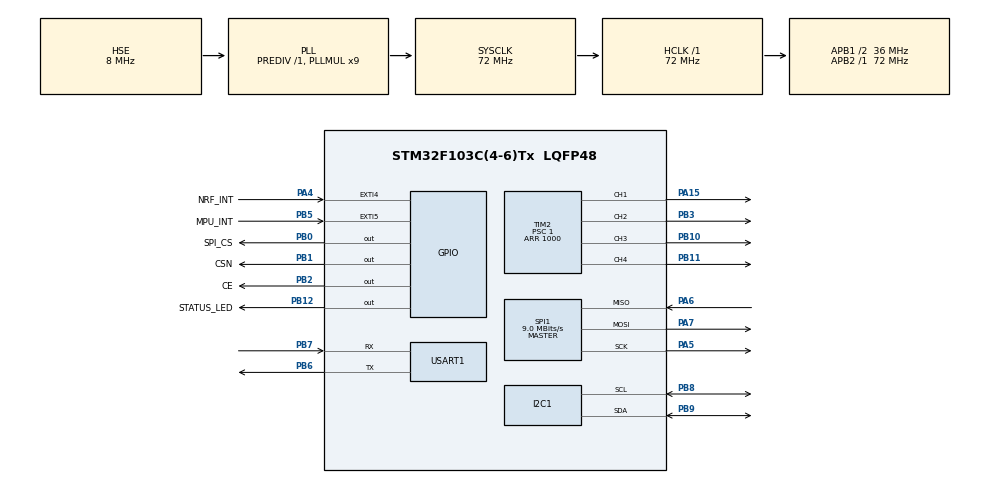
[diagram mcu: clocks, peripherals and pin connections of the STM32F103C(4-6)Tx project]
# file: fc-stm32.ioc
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Dma.I2C1_RX.1.Direction=DMA_PERIPH_TO_MEMORY
Dma.I2C1_RX.1.Instance=DMA1_Channel7
Dma.I2C1_RX.1.MemDataAlignment=DMA_MDATAALIGN_BYTE
Dma.I2C1_RX.1.MemInc=DMA_MINC_ENABLE
Dma.I2C1_RX.1.Mode=DMA_NORMAL
Dma.I2C1_RX.1.PeriphDataAlignment=DMA_PDATAALIGN_BYTE
Dma.I2C1_RX.1.PeriphInc=DMA_PINC_DISABLE
Dma.I2C1_RX.1.Priority=DMA_PRIORITY_HIGH
Dma.I2C1_TX.2.Direction=DMA_MEMORY_TO_PERIPH
Dma.I2C1_TX.2.Instance=DMA1_Channel6
Dma.I2C1_TX.2.MemDataAlignment=DMA_MDATAALIGN_BYTE
Dma.I2C1_TX.2.MemInc=DMA_MINC_ENABLE
Dma.I2C1_TX.2.Mode=DMA_NORMAL
Dma.I2C1_TX.2.PeriphDataAlignment=DMA_PDATAALIGN_BYTE
Dma.I2C1_TX.2.PeriphInc=DMA_PINC_DISABLE
Dma.I2C1_TX.2.Priority=DMA_PRIORITY_HIGH
Dma.Request0=SPI1_RX
Dma.Request1=I2C1_RX
Dma.Request2=I2C1_TX
Dma.Request3=SPI1_TX
Dma.Request4=USART1_RX
Dma.SPI1_RX.0.Direction=DMA_PERIPH_TO_MEMORY
Dma.SPI1_RX.0.Instance=DMA1_Channel2
Dma.SPI1_RX.0.MemDataAlignment=DMA_MDATAALIGN_BYTE
Dma.SPI1_RX.0.MemInc=DMA_MINC_ENABLE
Dma.SPI1_RX.0.Mode=DMA_NORMAL
Dma.SPI1_RX.0.PeriphDataAlignment=DMA_PDATAALIGN_BYTE
Dma.SPI1_RX.0.PeriphInc=DMA_PINC_DISABLE
Dma.SPI1_RX.0.Priority=DMA_PRIORITY_HIGH
Dma.SPI1_TX.3.Direction=DMA_MEMORY_TO_PERIPH
Dma.SPI1_TX.3.Instance=DMA1_Channel3
Dma.SPI1_TX.3.MemDataAlignment=DMA_MDATAALIGN_BYTE
Dma.SPI1_TX.3.MemInc=DMA_MINC_ENABLE
Dma.SPI1_TX.3.Mode=DMA_NORMAL
Dma.SPI1_TX.3.PeriphDataAlignment=DMA_PDATAALIGN_BYTE
Dma.SPI1_TX.3.PeriphInc=DMA_PINC_DISABLE
Dma.SPI1_TX.3.Priority=DMA_PRIORITY_HIGH
Dma.USART1_RX.4.Direction=DMA_PERIPH_TO_MEMORY
Dma.USART1_RX.4.Instance=DMA1_Channel5
Dma.USART1_RX.4.MemDataAlignment=DMA_MDATAALIGN_BYTE
Dma.USART1_RX.4.MemInc=DMA_MINC_ENABLE
Dma.USART1_RX.4.Mode=DMA_NORMAL
Dma.USART1_RX.4.PeriphDataAlignment=DMA_PDATAALIGN_BYTE
Dma.USART1_RX.4.PeriphInc=DMA_PINC_DISABLE
Dma.USART1_RX.4.Priority=DMA_PRIORITY_HIGH
I2C1.I2C_Mode=I2C_Fast
Mcu.Family=STM32F1
Mcu.Name=STM32F103C(4-6)Tx
Mcu.Package=LQFP48
NVIC.DMA1_Channel2_IRQn=true\:0\:0\:false\:false\:true\:false\:true\:true
NVIC.DMA1_Channel3_IRQn=true\:0\:0\:false\:false\:true\:false\:true\:true
NVIC.DMA1_Channel5_IRQn=true\:0\:0\:false\:false\:true\:false\:true\:true
NVIC.DMA1_Channel6_IRQn=true\:0\:0\:false\:false\:true\:false\:true\:true
NVIC.DMA1_Channel7_IRQn=true\:0\:0\:false\:false\:true\:false\:true\:true
NVIC.EXTI4_IRQn=true\:0\:0\:false\:false\:true\:true\:true\:true
NVIC.EXTI9_5_IRQn=true\:0\:0\:false\:false\:true\:true\:true\:true
NVIC.I2C1_EV_IRQn=true\:0\:0\:false\:false\:true\:true\:true\:true
NVIC.PriorityGroup=NVIC_PRIORITYGROUP_4
NVIC.USART1_IRQn=true\:0\:0\:false\:false\:true\:true\:true\:true
PA13.Mode=Serial_Wire
PA13.Signal=SYS_JTMS-SWDIO
PA14.Mode=Serial_Wire
PA14.Signal=SYS_JTCK-SWCLK
PA15.Signal=S_TIM2_CH1_ETR
PA4.GPIO_Label=NRF_INT
PA4.GPIO_ModeDefaultEXTI=GPIO_MODE_IT_FALLING
PA4.GPIO_PuPd=GPIO_PULLUP
PA4.Signal=GPXTI4
PA5.Mode=Full_Duplex_Master
PA5.Signal=SPI1_SCK
PA6.Mode=Full_Duplex_Master
PA6.Signal=SPI1_MISO
PA7.Mode=Full_Duplex_Master
PA7.Signal=SPI1_MOSI
PB0.GPIO_Label=SPI_CS
PB0.GPIO_Speed=GPIO_SPEED_FREQ_HIGH
PB0.Signal=GPIO_Output
PB1.GPIO_Label=CSN
PB1.GPIO_PuPd=GPIO_PULLUP
PB1.GPIO_Speed=GPIO_SPEED_FREQ_HIGH
PB1.PinState=GPIO_PIN_SET
PB1.Signal=GPIO_Output
PB10.Signal=S_TIM2_CH3
PB11.Signal=S_TIM2_CH4
PB12.GPIO_Label=STATUS_LED
PB12.GPIO_Speed=GPIO_SPEED_FREQ_HIGH
PB12.Signal=GPIO_Output
PB2.GPIO_Label=CE
PB2.GPIO_PuPd=GPIO_PULLDOWN
PB2.GPIO_Speed=GPIO_SPEED_FREQ_HIGH
PB2.Signal=GPIO_Output
PB3.Signal=S_TIM2_CH2
PB5.GPIO_Label=MPU_INT
PB5.GPIO_ModeDefaultEXTI=GPIO_MODE_IT_FALLING
PB5.GPIO_PuPd=GPIO_PULLUP
PB5.Signal=GPXTI5
PB6.Mode=Asynchronous
PB6.Signal=USART1_TX
PB7.Mode=Asynchronous
PB7.Signal=USART1_RX
PB8.Mode=I2C
PB8.Signal=I2C1_SCL
PB9.Mode=I2C
PB9.Signal=I2C1_SDA
PD0-OSC_IN.Mode=HSE-External-Oscillator
PD0-OSC_IN.Signal=RCC_OSC_IN
PD1-OSC_OUT.Mode=HSE-External-Oscillator
PD1-OSC_OUT.Signal=RCC_OSC_OUT
ProjectManager.HeapSize=0x200
ProjectManager.StackSize=0x400
ProjectManager.TargetToolchain=Makefile
RCC.AHBFreq_Value=72000000
RCC.APB1CLKDivider=RCC_HCLK_DIV2
RCC.APB1Freq_Value=36000000
RCC.APB1TimFreq_Value=72000000
RCC.APB2Freq_Value=72000000
RCC.APB2TimFreq_Value=72000000
RCC.HCLKFreq_Value=72000000
RCC.PLLMUL=RCC_PLL_MUL9
RCC.PLLSourceVirtual=RCC_PLLSOURCE_HSE
RCC.SYSCLKFreq_VALUE=72000000
RCC.SYSCLKSource=RCC_SYSCLKSOURCE_PLLCLK
RCC.USBFreq_Value=48000000
RCC.USBPrescaler=RCC_USBCLKSOURCE_PLL_DIV1_5
SH.S_TIM2_CH1_ETR.0=TIM2_CH1,PWM Generation1 CH1
SH.S_TIM2_CH2.0=TIM2_CH2,PWM Generation2 CH2
SH.S_TIM2_CH3.0=TIM2_CH3,PWM Generation3 CH3
SH.S_TIM2_CH4.0=TIM2_CH4,PWM Generation4 CH4
SPI1.BaudRatePrescaler=SPI_BAUDRATEPRESCALER_8
SPI1.CLKPolarity=SPI_POLARITY_LOW
SPI1.CRCCalculation=SPI_CRCCALCULATION_DISABLE
SPI1.CalculateBaudRate=9.0 MBits/s
SPI1.Direction=SPI_DIRECTION_2LINES
SPI1.Mode=SPI_MODE_MASTER
SPI1.VirtualType=VM_MASTER
TIM1.Prescaler=72-1
TIM2.Channel-PWM\ Generation1\ CH1=TIM_CHANNEL_1
TIM2.Channel-PWM\ Generation2\ CH2=TIM_CHANNEL_2
TIM2.Channel-PWM\ Generation3\ CH3=TIM_CHANNEL_3
TIM2.Channel-PWM\ Generation4\ CH4=TIM_CHANNEL_4
TIM2.OCPolarity_2=TIM_OCPOLARITY_HIGH
TIM2.Period=1000
TIM2.Prescaler=1
TIM2.Pulse-PWM\ Generation1\ CH1=10
TIM2.Pulse-PWM\ Generation2\ CH2=10
TIM2.Pulse-PWM\ Generation3\ CH3=10
TIM2.Pulse-PWM\ Generation4\ CH4=10
USART1.VirtualMode=VM_ASYNC
VP_TIM1_VS_ClockSourceINT.Mode=Internal
board=custom

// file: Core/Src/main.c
/* USER CODE BEGIN Header */
/**
 ******************************************************************************
 * @file           : main.c
 * @brief          : Main program body
 ******************************************************************************
 * @attention
 *
 * Copyright (c) 2023 STMicroelectronics.
 * All rights reserved.
 *
 * This software is licensed under terms that can be found in the LICENSE file
 * in the root directory of this software component.
 * If no LICENSE file comes with this software, it is provided AS-IS.
 *
 ******************************************************************************
 */
/* USER CODE END Header */
#include "main.h"
#include "dma.h"
#include "gpio.h"
#include "i2c.h"
#include "spi.h"
#include "tim.h"
#include "usart.h"
#include "usb_device.h"

/* USER CODE BEGIN Includes */
#include "flight_controller.h"
/* USER CODE END Includes */

/* USER CODE BEGIN PTD */
// #define TELEMETRY
/* USER CODE END PTD */

void SystemClock_Config(void);

/* USER CODE BEGIN 0 */
void HAL_I2C_MemRxCpltCallback(I2C_HandleTypeDef *hi2c) {
    (void)hi2c;

#ifdef HAL_RADIO_INTERFACE_I2C
    HAL_RADIO_receive_payload();
#endif // RADIO_INTERFACE_I2C

#ifdef HAL_IMU_INTERFACE_I2C
    HAL_IMU_readout();
#endif // IMU_INTERFACE_I2C
}

void HAL_SPI_TxRxCpltCallback(SPI_HandleTypeDef *hspi) {
    (void)hspi;

#ifdef HAL_RADIO_INTERFACE_SPI
    HAL_RADIO_receive_payload();
#endif // RADIO_INTERFACE_SPI

#ifdef HAL_IMU_INTERFACE_SPI
    HAL_IMU_readout();
#endif // IMU_INTERFACE_SPI

#ifdef HAL_EXTERNAL_MEMORY_INTERFACE_SPI
    HAL_EXTERNAL_MEMORY_readout();
#endif // EXTERNAL_MEMORY_INTERFACE_SPI
}

void HAL_UART_RxCpltCallback(UART_HandleTypeDef *huart) {
    (void)huart;
#ifdef HAL_OPTICALFLOW_INTERFACE_UART
    HAL_OPTICALFLOW_readout();
#endif // OPTICALFLOW_INTERFACE_UART
}

void HAL_GPIO_EXTI_Callback(uint16_t GPIO_Pin) {
    if (GPIO_Pin == RADIO_INT_Pin) {
        HAL_RADIO_request_readout();
    }
    if (GPIO_Pin == IMU_INT_Pin) {
        HAL_IMU_request_readout();
    }
}
/* USER CODE END 0 */

int main(void) {

    /* MCU
     * Configuration--------------------------------------------------------*/

    /* Reset of all peripherals, Initializes the Flash interface and the
     * Systick. */
    HAL_Init();

    /* Configure the system clock */
    SystemClock_Config();

    /* Initialize all configured peripherals */
    MX_GPIO_Init();
    MX_DMA_Init();
    MX_SPI1_Init();
    MX_TIM1_Init();
    MX_I2C1_Init();
    MX_TIM2_Init();
    MX_USART1_UART_Init();
    MX_USB_DEVICE_Init();
    /* USER CODE BEGIN 2 */
    FC_init();
    /* USER CODE END 2 */

    /* Infinite loop */
    /* USER CODE BEGIN WHILE */
    while (1) {
        FC_proc();
    }
    /* USER CODE END WHILE */

}

void SystemClock_Config(void) {
    RCC_OscInitTypeDef RCC_OscInitStruct = {0};
    RCC_ClkInitTypeDef RCC_ClkInitStruct = {0};
    RCC_PeriphCLKInitTypeDef PeriphClkInit = {0};

    /** Initializes the RCC Oscillators according to the specified parameters
     * in the RCC_OscInitTypeDef structure.
     */
    RCC_OscInitStruct.OscillatorType = RCC_OSCILLATORTYPE_HSE;
    RCC_OscInitStruct.HSEState = RCC_HSE_ON;
    RCC_OscInitStruct.HSEPredivValue = RCC_HSE_PREDIV_DIV1;
    RCC_OscInitStruct.HSIState = RCC_HSI_ON;
    RCC_OscInitStruct.PLL.PLLState = RCC_PLL_ON;
    RCC_OscInitStruct.PLL.PLLSource = RCC_PLLSOURCE_HSE;
    RCC_OscInitStruct.PLL.PLLMUL = RCC_PLL_MUL9;
    if (HAL_RCC_OscConfig(&RCC_OscInitStruct) != HAL_OK) {
        Error_Handler();
    }

    /** Initializes the CPU, AHB and APB buses clocks
     */
    RCC_ClkInitStruct.ClockType = RCC_CLOCKTYPE_HCLK | RCC_CLOCKTYPE_SYSCLK |
                                  RCC_CLOCKTYPE_PCLK1 | RCC_CLOCKTYPE_PCLK2;
    RCC_ClkInitStruct.SYSCLKSource = RCC_SYSCLKSOURCE_PLLCLK;
    RCC_ClkInitStruct.AHBCLKDivider = RCC_SYSCLK_DIV1;
    RCC_ClkInitStruct.APB1CLKDivider = RCC_HCLK_DIV2;
    RCC_ClkInitStruct.APB2CLKDivider = RCC_HCLK_DIV1;

    if (HAL_RCC_ClockConfig(&RCC_ClkInitStruct, FLASH_LATENCY_2) != HAL_OK) {
        Error_Handler();
    }
    PeriphClkInit.PeriphClockSelection = RCC_PERIPHCLK_USB;
    PeriphClkInit.UsbClockSelection = RCC_USBCLKSOURCE_PLL_DIV1_5;
    if (HAL_RCCEx_PeriphCLKConfig(&PeriphClkInit) != HAL_OK)
    {
        Error_Handler();
    }
}

void Error_Handler(void) {
    /* USER CODE BEGIN Error_Handler_Debug */
    /* User can add his own implementation to report the HAL error return state
     */
    __disable_irq();
    while (1) {
    }
    /* USER CODE END Error_Handler_Debug */
}

#ifdef USE_FULL_ASSERT
/**
 * @brief  Reports the name of the source file and the source line number
 *         where the assert_param error has occurred.
 * @param  file: pointer to the source file name
 * @param  line: assert_param error line source number
 * @retval None
 */
void assert_failed(uint8_t *file, uint32_t line) {
    /* USER CODE BEGIN 6 */
    /* User can add his own implementation to report the file name and line
       number, ex: printf("Wrong parameters value: file %s on line %d\r\n",
       file, line) */
    /* USER CODE END 6 */
}
#endif /* USE_FULL_ASSERT */
